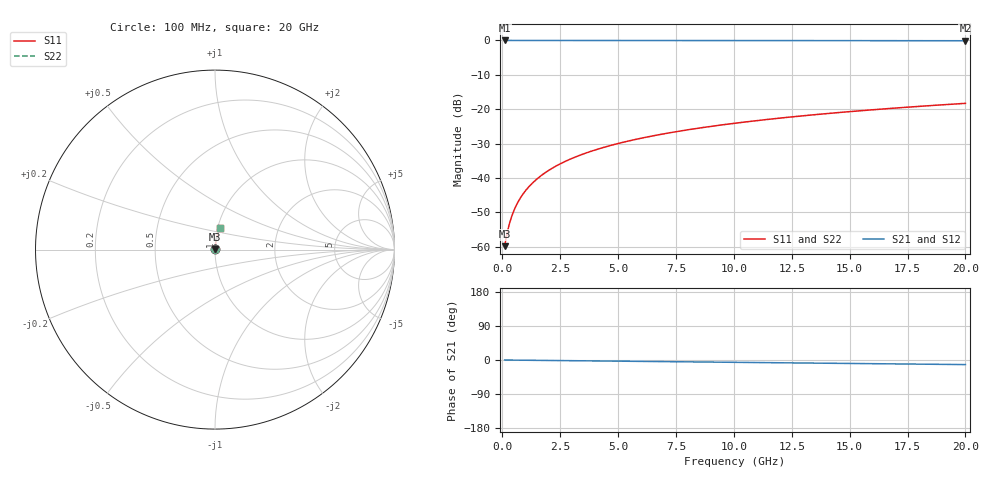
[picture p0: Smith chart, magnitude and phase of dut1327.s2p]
! Touchstone file exported from HFSS 2026.1.0
!  File:  C:/ffzhzh/LocalFiles/Ansys_Project_Files/temp_train_TSV_1327_1783195264_55132.aedt
!  Generated:  04:03:00 AM Jul  5, 2026
!  Design:  TSV
!  Project:  temp_train_TSV_1327_1783195264_55132
! Variables:
!  h_bsmrdl = 2um
!  h_ox = 20um
!  h_rdl = 5um
!  h_sub = 98.27um
!  h_tmrdl = 5um
!  h_tsv = 98.27um
!  h_via = 3um
!  l_bsmrdl = 300um
!  l_sub = 407.7um
!  l_tmrdl = 200um
!  m_sub = 200um
!  pitch = 46.82um
!  r_tsv = 3.85um
!  s_tmrdl = 10um
!  w_bsmrdl = 18um
!  w_sub = 500um
!  w_tmrdl = 12um
!  x_tsv_center1 = 206um
!  x_tsv_center2 = 524um
!  x_tsv_center3 = 736um
!  x_tsv_center4 = 1054um
!  x_tsv_center5 = 1266um
!  x_tsv_center6 = 1584um
# GHz S MA R 50.000000
! Terminal data exported
! Port[1] = TSV1_1_T1
! Port[2] = TSV1_1_T2
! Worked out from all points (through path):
!   200 points, 100 MHz to 20 GHz, reference 50 ohm
!   highest |S21| = -0.01 dB at 100 MHz (marker M1); lowest = -0.1 dB at 20 GHz (marker M2)
!   group delay of S21, straight-line fit = 1.68 ps
!   lowest |S11| = -59.8 dB at 100 MHz (marker M3), VSWR 1.00, Z = 50.1 + j0.0659 ohm
!   |S11| at or under -10 dB: start of sweep to end of sweep
!   |S22| runs from -59.8 to -18.3 dB; largest |S21 - S12| = 2.7e-15
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0.1  0.001021 40.1  0.9992 -0.1  0.9992 -0.1  0.001021 40.1
! Gamma 0 0 0 0
! Port Impedance 50 0 50 0
0.2  0.001533 58.9  0.9992 -0.1  0.9992 -0.1  0.001533 58.9
0.3  0.002121 67.6  0.9992 -0.2  0.9992 -0.2  0.002121 67.6
0.4  0.002734 72.4  0.9992 -0.3  0.9992 -0.3  0.002734 72.4
0.5  0.003357 75.5  0.9992 -0.3  0.9992 -0.3  0.003357 75.5
0.6  0.003985 77.5  0.9992 -0.4  0.9992 -0.4  0.003985 77.5
0.8  0.00525 80.1  0.9991 -0.5  0.9991 -0.5  0.00525 80.1
1.1  0.007158 82.2  0.9991 -0.7  0.9991 -0.7  0.007158 82.2
1.5  0.009708 83.6  0.999 -0.9  0.999 -0.9  0.009708 83.6
1.8  0.01162 84.1  0.999 -1.1  0.999 -1.1  0.01162 84.1
2.1  0.01353 84.4  0.9989 -1.3  0.9989 -1.3  0.01353 84.4
2.7  0.01734 84.7  0.9987 -1.7  0.9987 -1.7  0.01734 84.7
3.5  0.02238 84.6  0.9985 -2.2  0.9985 -2.2  0.02238 84.6
4.2  0.02676 84.4  0.9983 -2.6  0.9983 -2.6  0.02676 84.4
5  0.03174 84.1  0.998 -3.1  0.998 -3.1  0.03174 84.1
5.9  0.0373 83.8  0.9976 -3.6  0.9976 -3.6  0.0373 83.8
6.8  0.04283 83.3  0.9972 -4.2  0.9972 -4.2  0.04283 83.3
8.3  0.05198 82.6  0.9966 -5.1  0.9966 -5.1  0.05198 82.6
10.1  0.0629 81.7  0.9957 -6.2  0.9957 -6.2  0.0629 81.7
13.4  0.08275 80.0  0.9939 -8.2  0.9939 -8.2  0.08275 80.0
16.7  0.1024 78.2  0.9918 -10.1  0.9918 -10.1  0.1024 78.2
20  0.1218 76.4  0.9893 -12.1  0.9893 -12.1  0.1218 76.4
